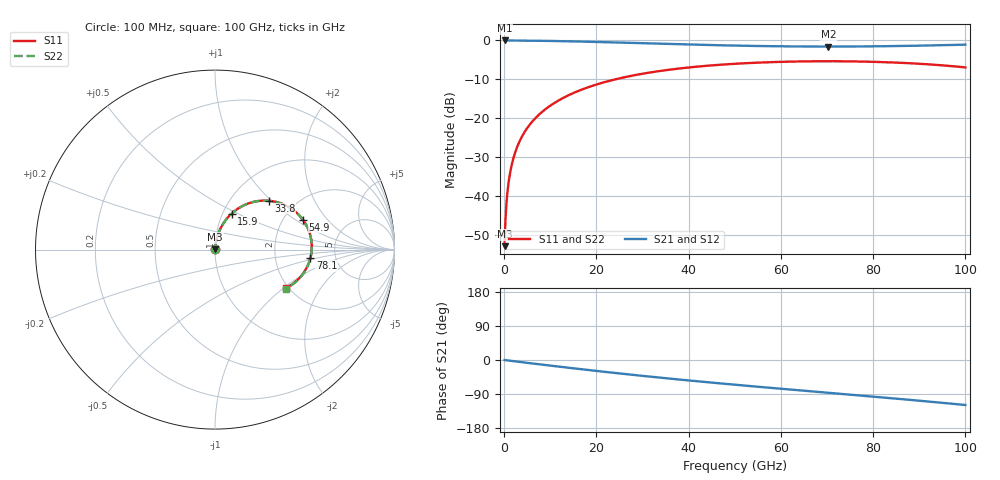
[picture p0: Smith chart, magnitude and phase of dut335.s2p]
! Touchstone file exported from HFSS 2026.1.0
!  File:  C:/ffzhzh/LocalFiles/Ansys_Project_Files/temp_train_RDL_335_1783502947_9504.aedt
!  Generated:  05:30:30 PM Jul  8, 2026
!  Design:  RDL
!  Project:  temp_train_RDL_335_1783502947_9504
! Variables:
!  h_bsmrdl = 2um
!  h_ox = 20um
!  h_rdl = 5um
!  h_sub = 80um
!  h_tmrdl = 4.03um
!  h_tsv = 80um
!  h_via = 3um
!  l_bsmrdl = 300um
!  l_sub = 792.8um
!  l_tmrdl = 392.8um
!  m_sub = 200um
!  pitch = 55.74um
!  r_tsv = 6um
!  s_tmrdl = 10um
!  w_bsmrdl = 18um
!  w_sub = 500um
!  w_tmrdl = 26.31um
!  x_tsv_center1 = 405.955um
!  x_tsv_center2 = 723.955um
!  x_tsv_center3 = 1143.065um
!  x_tsv_center4 = 1461.065um
!  x_tsv_center5 = 1880.175um
!  x_tsv_center6 = 2198.175um
# GHz S MA R 50.000000
! Terminal data exported
! Port[1] = TM_RDL1_1_T1
! Port[2] = TM_RDL1_1_T2
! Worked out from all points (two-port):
!   1000 points, 100 MHz to 100 GHz, reference 50 ohm
!   highest |S21| = -0.01 dB at 100 MHz (marker M1); lowest = -1.6 dB at 70.3 GHz (marker M2)
!   |S21| within 3 dB of the highest: start of sweep to end of sweep
!   lowest |S11| = -53.0 dB at 100 MHz (marker M3), VSWR 1.00, Z = 50.2 + j0.167 ohm
!   |S11| at or under -10 dB: start of sweep to 24.18 GHz
!   |S22| runs from -53.0 to -5.4 dB; largest |S21 - S12| = 1.6e-14
!   S11 on the Smith chart (normalised r, x): 100 MHz: 1.00, +0.00; 15.9 GHz: 1.10, +0.47; 33.8 GHz: 1.48, +0.96; 54.9 GHz: 2.54, +1.16; 78.1 GHz: 3.23, -0.42; 100 GHz: 1.94, -1.04
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0.1  0.002251 47.5  0.9985 -0.2  0.9985 -0.2  0.002251 47.5
! Gamma 0 0 0 0
! Port Impedance 50 0 50 0
0.8  0.01244 79.9  0.998 -1.2  0.998 -1.2  0.01244 79.9
1.1  0.01691 81.6  0.9979 -1.7  0.9979 -1.7  0.01691 81.6
1.4  0.02139 82.3  0.9977 -2.1  0.9977 -2.1  0.02139 82.3
1.9  0.02887 82.7  0.9974 -2.9  0.9974 -2.9  0.02887 82.7
2.4  0.03633 82.6  0.997 -3.6  0.997 -3.6  0.03633 82.6
3.8  0.05703 81.4  0.9955 -5.7  0.9955 -5.7  0.05704 81.4
5.8  0.08601 78.8  0.9926 -8.7  0.9926 -8.7  0.08601 78.8
8.5  0.124 75.2  0.9876 -12.6  0.9876 -12.6  0.124 75.2
11.8  0.1688 70.7  0.9801 -17.4  0.9801 -17.4  0.1688 70.7
15.9  0.2215 65.2  0.9687 -23.2  0.9687 -23.2  0.2215 65.2
16.8  0.2326 64.0  0.966 -24.4  0.966 -24.4  0.2326 63.9
24.2  0.3165 54.3  0.9411 -34.4  0.9411 -34.4  0.3165 54.2
33.4  0.4012 42.8  0.9078 -46.1  0.9078 -46.1  0.4012 42.8
33.8  0.4044 42.3  0.9064 -46.6  0.9064 -46.6  0.4044 42.3
50.1  0.5005 23.9  0.8573 -65.3  0.8573 -65.3  0.5006 23.8
54.9  0.5172 18.8  0.8474 -70.5  0.8474 -70.5  0.5173 18.7
66.7  0.5385 6.7  0.8341 -82.8  0.8341 -82.8  0.5387 6.5
70.3  0.5396 3.0  0.8333 -86.6  0.8333 -86.6  0.5398 2.8
78.1  0.5335 -5.0  0.8369 -94.7  0.8369 -94.7  0.5337 -5.2
83.4  0.5225 -10.4  0.8434 -100.3  0.8434 -100.3  0.5227 -10.7
100  0.4491 -28.5  0.8824 -118.8  0.8824 -118.8  0.4494 -29.0
